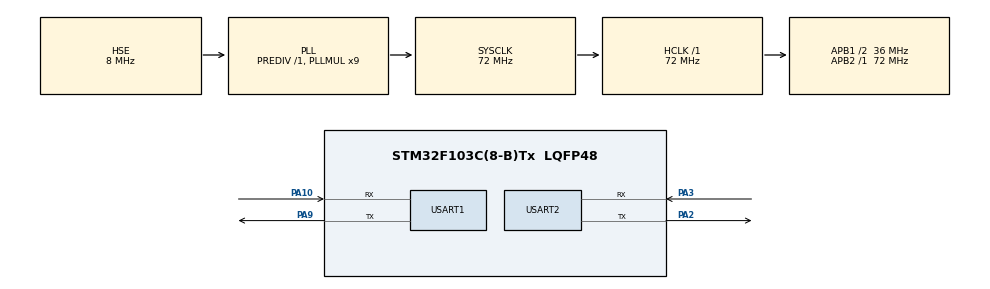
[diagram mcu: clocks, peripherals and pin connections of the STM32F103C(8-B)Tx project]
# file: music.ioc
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Mcu.Family=STM32F1
Mcu.Name=STM32F103C(8-B)Tx
Mcu.Package=LQFP48
NVIC.PriorityGroup=NVIC_PRIORITYGROUP_4
NVIC.USART1_IRQn=true\:0\:0\:false\:false\:true\:true\:true\:true
NVIC.USART2_IRQn=true\:0\:0\:false\:false\:true\:true\:true\:true
PA10.Mode=Asynchronous
PA10.Signal=USART1_RX
PA2.Mode=Asynchronous
PA2.Signal=USART2_TX
PA3.Mode=Asynchronous
PA3.Signal=USART2_RX
PA9.Mode=Asynchronous
PA9.Signal=USART1_TX
PD0-OSC_IN.Mode=HSE-External-Oscillator
PD0-OSC_IN.Signal=RCC_OSC_IN
PD1-OSC_OUT.Mode=HSE-External-Oscillator
PD1-OSC_OUT.Signal=RCC_OSC_OUT
ProjectManager.HeapSize=0x200
ProjectManager.StackSize=0x400
ProjectManager.TargetToolchain=STM32CubeIDE
RCC.AHBFreq_Value=72000000
RCC.APB1CLKDivider=RCC_HCLK_DIV2
RCC.APB1Freq_Value=36000000
RCC.APB1TimFreq_Value=72000000
RCC.APB2Freq_Value=72000000
RCC.APB2TimFreq_Value=72000000
RCC.HCLKFreq_Value=72000000
RCC.PLLMUL=RCC_PLL_MUL9
RCC.PLLSourceVirtual=RCC_PLLSOURCE_HSE
RCC.SYSCLKFreq_VALUE=72000000
RCC.SYSCLKSource=RCC_SYSCLKSOURCE_PLLCLK
RCC.USBFreq_Value=72000000
USART1.VirtualMode=VM_ASYNC
USART2.VirtualMode=VM_ASYNC
board=custom

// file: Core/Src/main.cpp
/* USER CODE BEGIN Header */
/**
  ******************************************************************************
  * @file           : main.c
  * @brief          : Main program body
  ******************************************************************************
  * @attention
  *
  * Copyright (c) 2024 STMicroelectronics.
  * All rights reserved.
  *
  * This software is licensed under terms that can be found in the LICENSE file
  * in the root directory of this software component.
  * If no LICENSE file comes with this software, it is provided AS-IS.
  *
  ******************************************************************************
  */
/* USER CODE END Header */
#include "main.h"

/* USER CODE BEGIN Includes */
#include "df1201s.hpp"

/* USER CODE END Includes */

UART_HandleTypeDef huart1;
UART_HandleTypeDef huart2;

/* USER CODE BEGIN PV */
//#define BUF_SIZE 64
uint8_t rxBuf;

/* USER CODE END PV */

void SystemClock_Config(void);
static void MX_GPIO_Init(void);
static void MX_USART1_UART_Init(void);
static void MX_USART2_UART_Init(void);

int main(void)
{

  /* MCU Configuration--------------------------------------------------------*/

  /* Reset of all peripherals, Initializes the Flash interface and the Systick. */
  HAL_Init();

  /* Configure the system clock */
  SystemClock_Config();

  /* Initialize all configured peripherals */
  MX_GPIO_Init();
  MX_USART1_UART_Init();
  MX_USART2_UART_Init();
  /* USER CODE BEGIN 2 */

  DF1201S df1201s;

  uint8_t data[]="Hello\n";
  const uint16_t leng = sizeof(data)/sizeof(data[0]);
  HAL_Delay(5000);
  HAL_UART_Transmit(&huart2, data, leng, HAL_MAX_DELAY);
  HAL_UART_Receive_IT(&huart1, &rxBuf, 1);
  /*
   * uart2 dùng để gửi data lên PC
   * uart1 dùng để gửi data tới DF1201S
   * */
  df1201s.sendAT();
  df1201s.queryVOL();
  df1201s.enableAmplifier();
  df1201s.setMiddleVol();
  df1201s.setPlayMode();
  df1201s.queryplayMode();

  //df1201s.controlPlayMode(PLAYBACK_MODE::PLAY_ONE_SONE);

  /* USER CODE END 2 */

  /* Infinite loop */
  /* USER CODE BEGIN WHILE */
  while (1)
  {

	  df1201s.playNumberOneMusic();
	  HAL_Delay(10000);
	  df1201s.playNumberTwoMusic();
	  HAL_Delay(10000);
    /* USER CODE END WHILE */

  }
}

void SystemClock_Config(void)
{
  RCC_OscInitTypeDef RCC_OscInitStruct = {0};
  RCC_ClkInitTypeDef RCC_ClkInitStruct = {0};

  /** Initializes the RCC Oscillators according to the specified parameters
  * in the RCC_OscInitTypeDef structure.
  */
  RCC_OscInitStruct.OscillatorType = RCC_OSCILLATORTYPE_HSE;
  RCC_OscInitStruct.HSEState = RCC_HSE_ON;
  RCC_OscInitStruct.HSEPredivValue = RCC_HSE_PREDIV_DIV1;
  RCC_OscInitStruct.HSIState = RCC_HSI_ON;
  RCC_OscInitStruct.PLL.PLLState = RCC_PLL_ON;
  RCC_OscInitStruct.PLL.PLLSource = RCC_PLLSOURCE_HSE;
  RCC_OscInitStruct.PLL.PLLMUL = RCC_PLL_MUL9;
  if (HAL_RCC_OscConfig(&RCC_OscInitStruct) != HAL_OK)
  {
    Error_Handler();
  }

  /** Initializes the CPU, AHB and APB buses clocks
  */
  RCC_ClkInitStruct.ClockType = RCC_CLOCKTYPE_HCLK|RCC_CLOCKTYPE_SYSCLK
                              |RCC_CLOCKTYPE_PCLK1|RCC_CLOCKTYPE_PCLK2;
  RCC_ClkInitStruct.SYSCLKSource = RCC_SYSCLKSOURCE_PLLCLK;
  RCC_ClkInitStruct.AHBCLKDivider = RCC_SYSCLK_DIV1;
  RCC_ClkInitStruct.APB1CLKDivider = RCC_HCLK_DIV2;
  RCC_ClkInitStruct.APB2CLKDivider = RCC_HCLK_DIV1;

  if (HAL_RCC_ClockConfig(&RCC_ClkInitStruct, FLASH_LATENCY_2) != HAL_OK)
  {
    Error_Handler();
  }
}

static void MX_USART1_UART_Init(void)
{

  huart1.Instance = USART1;
  huart1.Init.BaudRate = 115200;
  huart1.Init.WordLength = UART_WORDLENGTH_8B;
  huart1.Init.StopBits = UART_STOPBITS_1;
  huart1.Init.Parity = UART_PARITY_NONE;
  huart1.Init.Mode = UART_MODE_TX_RX;
  huart1.Init.HwFlowCtl = UART_HWCONTROL_NONE;
  huart1.Init.OverSampling = UART_OVERSAMPLING_16;
  if (HAL_UART_Init(&huart1) != HAL_OK)
  {
    Error_Handler();
  }

}

static void MX_USART2_UART_Init(void)
{

  huart2.Instance = USART2;
  huart2.Init.BaudRate = 115200;
  huart2.Init.WordLength = UART_WORDLENGTH_8B;
  huart2.Init.StopBits = UART_STOPBITS_1;
  huart2.Init.Parity = UART_PARITY_NONE;
  huart2.Init.Mode = UART_MODE_TX_RX;
  huart2.Init.HwFlowCtl = UART_HWCONTROL_NONE;
  huart2.Init.OverSampling = UART_OVERSAMPLING_16;
  if (HAL_UART_Init(&huart2) != HAL_OK)
  {
    Error_Handler();
  }

}

static void MX_GPIO_Init(void)
{

  /* GPIO Ports Clock Enable */
  __HAL_RCC_GPIOD_CLK_ENABLE();
  __HAL_RCC_GPIOA_CLK_ENABLE();

}

/* USER CODE BEGIN 4 */
void HAL_UART_RxCpltCallback(UART_HandleTypeDef *huart)
{
	/*
	 * nếu mà usart2 nhận được data từ pc
	 * */
	if(huart->Instance == USART1)
	{
		HAL_UART_Transmit(&huart2,&rxBuf,sizeof(rxBuf), HAL_MAX_DELAY);
		HAL_UART_Receive_IT(&huart1, &rxBuf, 1);
	}
}
/* USER CODE END 4 */

void Error_Handler(void)
{
  __disable_irq();
  while (1)
  {
  }
}
